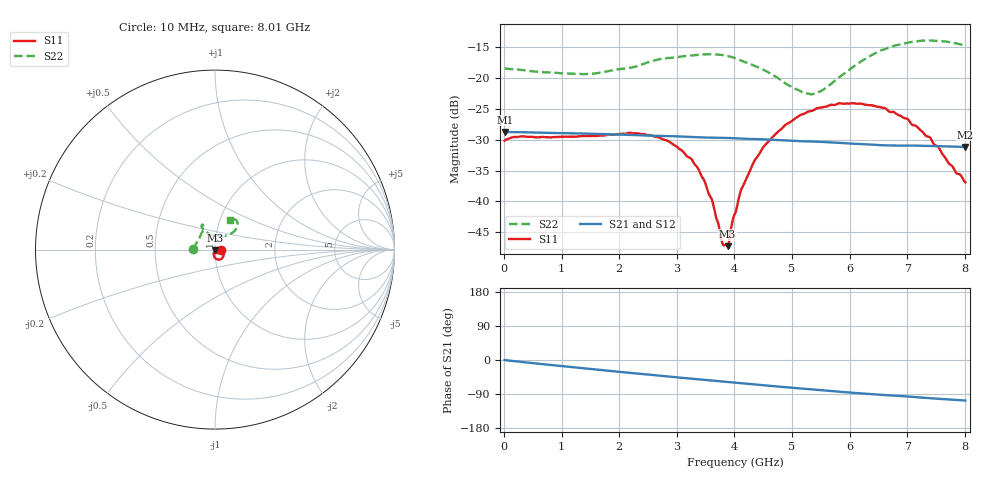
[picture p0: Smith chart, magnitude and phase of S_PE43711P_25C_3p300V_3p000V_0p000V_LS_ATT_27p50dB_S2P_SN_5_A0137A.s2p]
! Device ID: PE43711P
! File Path: z:\PE43711P\CHAR_NOM_04282014\AMB\3p300\LS_ATT_27p50dB\PE43711P_AMB_3p300V_3p000V_0p000V_LS_ATT_27p50dB_S2P_SN_5_A0137A.s2p
! Serial: 5
! Lot: A0137A
! Temp: 25C
! VDD: 3.300
! VSS: 0.000
! Control_Hi: 3.000
! Control_Lo: 0.000
! Attenuation Step: 27.50dB
! Port 1: RF1
! Port 2: RF2
! ThroughPath:1-2
! IDD: 0.0001279205
! ISS: -8.47e-008
#  Hz  S  RI  R  50
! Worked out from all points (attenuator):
!   801 points, 10 MHz to 8.01 GHz, reference 50 ohm
!   highest |S21| = -28.75 dB at 20 MHz (marker M1); lowest = -31.2 dB at 8.01 GHz (marker M2)
!   lowest |S11| = -47.3 dB at 3.88 GHz (marker M3), VSWR 1.01, Z = 50.2 - j0.398 ohm
!   |S11| at or under -10 dB: start of sweep to end of sweep
!   |S22| runs from -22.6 to -13.9 dB; largest |S21 - S12| = 0.00011
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1e7  0.0311 0.000443  0.0365 -0.000146  0.0366 -0.000154  -0.1199 0.000961
2e7  0.0314 0.000556  0.0365 -0.000213  0.0365 -0.000232  -0.1196 0.00153
1.35e9  0.0338 -0.00117  0.0331 -0.0129  0.0331 -0.0129  -0.0924 0.0552
2.19e9  0.036 0.00115  0.0287 -0.0194  0.0287 -0.0194  -0.0698 0.0991
2.68e9  0.0329 0.00444  0.0257 -0.0223  0.0257 -0.0223  -0.0661 0.1256
3.06e9  0.0257 0.00572  0.0231 -0.0244  0.0231 -0.0244  -0.0665 0.1337
3.35e9  0.0185 0.00472  0.0211 -0.0256  0.0211 -0.0256  -0.0685 0.1381
3.61e9  0.0102 0.00124  0.0193 -0.0266  0.0193 -0.0266  -0.0726 0.1379
3.79e9  0.00409 -0.00206  0.0181 -0.0273  0.0181 -0.0273  -0.0749 0.1345
3.88e9  0.00176 -0.00397  0.0174 -0.0277  0.0174 -0.0277  -0.075 0.1311
4.01e9  -0.00138 -0.00782  0.0164 -0.0281  0.0164 -0.0281  -0.0741 0.1249
4.15e9  -0.00397 -0.0127  0.0153 -0.0284  0.0153 -0.0285  -0.0695 0.1178
4.34e9  -0.00702 -0.0197  0.014 -0.0289  0.014 -0.0289  -0.0619 0.11
4.51e9  -0.00743 -0.0269  0.0126 -0.0293  0.0127 -0.0293  -0.0537 0.1034
4.9e9  -0.00287 -0.0422  0.00971 -0.0297  0.0097 -0.0297  -0.0281 0.0853
5.35e9  0.0102 -0.0533  0.00655 -0.0299  0.00657 -0.0299  0.0135 0.0727
5.55e9  0.0185 -0.0555  0.00514 -0.0299  0.00515 -0.0299  0.0356 0.0726
6.05e9  0.0378 -0.0499  0.00179 -0.0294  0.00175 -0.0294  0.0859 0.087
6.68e9  0.0474 -0.0256  -0.00156 -0.0284  -0.00152 -0.0284  0.1227 0.1274
7e9  0.0447 -0.0141  -0.00306 -0.0282  -0.0031 -0.0282  0.126 0.1467
7.39e9  0.033 -0.0028  -0.00522 -0.0277  -0.00522 -0.0277  0.115 0.166
8.01e9  0.0142 -0.00147  -0.00804 -0.0265  -0.00812 -0.0265  0.0836 0.1631
